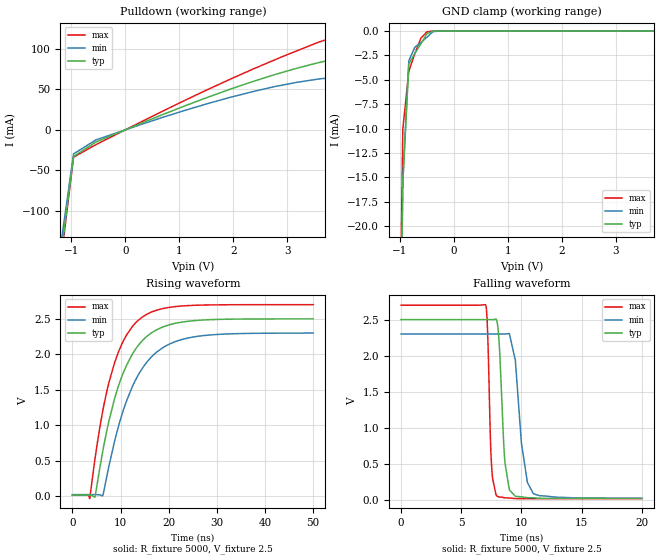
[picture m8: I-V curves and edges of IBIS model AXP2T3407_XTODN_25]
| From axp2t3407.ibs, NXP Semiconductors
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|   Model AXP2T3407_XTODN_25
[Model]   AXP2T3407_XTODN_25
Model_type   Open_drain
Polarity   Non-Inverting
Vmeas =  1.25V
Cref  =  5e-12
Rref  =  10e+3
Vref  =  2.5V
C_comp   1.0110pF   0.8663pF   1.1430pF
[Model Spec]
| Note: The input and output voltage ratings may be exceeded if the input and
|   output current ratings are observed (please refer to the data sheet)
|   Subparameter   typ   min   max
| Timing Thresholds
Vmeas   1.25   1.15   1.35
|Ambient temperature:   25   85   -40
[Temperature Range]   30   90   -35
[Voltage Range]   2.5   2.3   2.7
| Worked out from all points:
|   slope of the pulldown table from 0 to 0.375 V, typ, clamps not added: 36.5 ohm
|   GND clamp passes 1 mA (typ) near -0.58 V on its own axis
|   rising waveform, R_fixture 5000, V_fixture 2.5: 20-80 % time 6.47ns typ, 7.19ns min, 5.66ns max; typ from 0.02 V to 2.5 V
|   falling waveform, R_fixture 5000, V_fixture 2.5: 20-80 % time 426ps typ, 745ps min, 272ps max; typ from 2.5 V to 0.02 V
|Process Range   nominal   slow   fast
[GND_clamp]
|   voltage   I(typ)   I(min)   I(max)
-5.5V     -2.957A    -2.756A    -3.17A
-1.056V   -61.76mA   -55.78mA   -55.53mA
-944.4mV  -15.58mA   -15.38mA   -10.03mA
-833.3mV  -3.412mA   -3.047mA   -4.112mA
-722.2mV  -2.287mA   -1.662mA   -2.321mA
-611.1mV  -1.33mA    -1.186mA   -742.4uA
-500mV    -281.9uA   -644uA     -90.52uA
-388.9mV  -19.05uA   -70.75uA   -2.215uA
-277.8mV  -361.9nA   -2.29uA    -18.13nA
11V       0A         0A         0A
[Pulldown]
|   voltage   I(typ)   I(min)   I(max)
-5.5V     -2.959A    -2.757A    -3.174A
-1.371V   -249mA     -226mA     -259mA
-958mV    -32.8mA    -29.6mA    -33.6mA
-545mV    -15mA      -12.4mA    -18.3mA
1.107V    29.6mA     24mA       36.4mA
2.345V    59.1mA     46.8mA     74.2mA
3.584V    82.8mA     62.6mA     108mA
4.41V     93.5mA     66.5mA     126mA
5.236V    98mA       67.3mA     141mA
8.539V    102mA      71.5mA     154mA
10.11V    111mA      81.1mA     160mA
11V       121mA      89.4mA     168mA
[Ramp]
| variable   typ   min   max
dV/dt_r  1.5110E+00/6.5280E-09  1.3800E+00/7.2570E-09  1.6440E+00/5.6080E-09
dV/dt_f  1.5110E+00/4.3850E-10  1.3800E+00/6.5360E-10  1.6440E+00/4.3850E-10
R_load = 5000
[Rising Waveform]
R_fixture   = 5000
V_fixture   = 2.5
V_fixture_min = 2.3
V_fixture_max = 2.7
| time   V(typ)   V(min)   V(max)
0s        20.45mV    24.73mV    16.99mV
3.56ns    20.45mV    24.73mV    -32.24mV
4.68ns    -7.805mV   24.72mV    530.6mV
6.28ns    630.7mV    9.168mV    1.2V
9.48ns    1.54V      968.7mV    2.021V
11.24ns   1.848V     1.347V     2.274V
14.12ns   2.163V     1.762V     2.505V
18.76ns   2.386V     2.094V     2.645V
23.76ns   2.464V     2.227V     2.686V
50ns      2.5V       2.3V       2.7V
[Falling Waveform]
R_fixture   = 5000
V_fixture   = 2.5
V_fixture_min = 2.3
V_fixture_max = 2.7
| time   V(typ)   V(min)   V(max)
0s        2.5V       2.3V       2.7V
7.04ns    2.5V       2.3V       2.703V
7.52ns    2.5V       2.3V       484.8mV
7.96ns    2.486V     2.3V       55.07mV
8.6ns     596.2mV    2.3V       29.25mV
9ns       139.2mV    2.306V     25.96mV
9.5ns     50.05mV    1.933V     18.83mV
10ns      42.72mV    793.2mV    17.51mV
11ns      29.33mV    85.56mV    17.05mV
20ns      20.45mV    24.73mV    16.99mV
